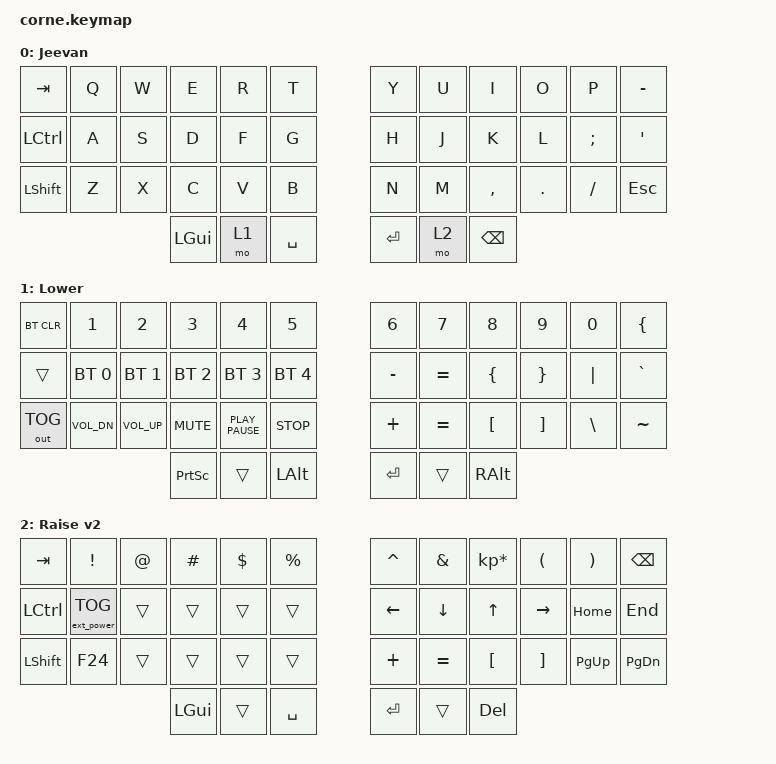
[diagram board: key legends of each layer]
/*
 * Copyright (c) 2020 The ZMK Contributors
 *
 * SPDX-License-Identifier: MIT
 */

#include <behaviors.dtsi>
#include <dt-bindings/zmk/bt.h>
#include <dt-bindings/zmk/ext_power.h>
#include <dt-bindings/zmk/keys.h>
#include <dt-bindings/zmk/outputs.h>

/*
&mt {
    tapping-term-ms = <280>;
    flavor = "balanced";
    quick-tap-ms = <175>;
    require-prior-idle-ms = <150>;
};

&lt {
    tapping-term-ms = <200>;
    flavor = "hold-preferred";
};
*/

#define DEFAULT 0-base
#define LOWER   1-numbers
#define RAISE   2-symbols

/ {
    macros {
        cd_home: cd_home {
            compatible = "zmk,behavior-macro";
            #binding-cells = <0>;
            bindings = <&kp C &kp D &kp SPACE &kp TILDE>;
        };
    };

    keymap {
        compatible = "zmk,keymap";

        default_layer {
            // -----------------------------------------------------------------------------------------
            // |  TAB |  Q  |  W  |  E  |  R  |  T  |   |  Y  |  U   |  I  |  O  |  P  | BKSP |
            // | CTRL |  A  |  S  |  D  |  F  |  G  |   |  H  |  J   |  K  |  L  |  ;  |  '   |
            // | SHFT |  Z  |  X  |  C  |  V  |  B  |   |  N  |  M   |  ,  |  .  |  /  | ESC  |
            //                    | GUI | LWR | SPC |   | ENT | RSE  | ALT |

            display-name = "Jeevan";
            bindings = <
&kp TAB    &kp Q  &kp W  &kp E     &kp R  &kp T        &kp Y    &kp U  &kp I          &kp O    &kp P     &kp MINUS
&kp LCTRL  &kp A  &kp S  &kp D     &kp F  &kp G        &kp H    &kp J  &kp K          &kp L    &kp SEMI  &kp SQT
&kp LSHFT  &kp Z  &kp X  &kp C     &kp V  &kp B        &kp N    &kp M  &kp COMMA      &kp DOT  &kp FSLH  &kp ESC
                         &kp LGUI  &mo 1  &kp SPACE    &kp RET  &mo 2  &kp BACKSPACE
            >;
        };

        lower_layer {
            // -----------------------------------------------------------------------------------------
            // |  TAB |  1  |  2  |  3  |  4  |  5  |   |  6  |  7  |  8  |  9  |  0  | BKSP |
            // | BTCLR| BT1 | BT2 | BT3 | BT4 | BT5 |   | LFT | DWN |  UP | RGT |     |      |
            // | SHFT |     |     |     |     |     |   |     |     |     |     |     |      |
            //   BTUSB            | GUI |     | SPC |   | ENT |     | ALT |

            display-name = "Lower";
            bindings = <
&bt BT_CLR    &kp N1        &kp N2        &kp N3           &kp N4            &kp N5          &kp N6     &kp N7     &kp N8            &kp N9             &kp N0         &kp LEFT_BRACE
&trans        &bt BT_SEL 0  &bt BT_SEL 1  &bt BT_SEL 2     &bt BT_SEL 3      &bt BT_SEL 4    &kp MINUS  &kp EQUAL  &kp LEFT_BRACE    &kp RIGHT_BRACE    &kp PIPE       &kp GRAVE
&out OUT_TOG  &kp C_VOL_DN  &kp C_VOL_UP  &kp K_MUTE       &kp K_PLAY_PAUSE  &kp K_STOP      &kp PLUS   &kp EQUAL  &kp LEFT_BRACKET  &kp RIGHT_BRACKET  &kp BACKSLASH  &kp TILDE
                                          &kp PRINTSCREEN  &trans            &kp LEFT_ALT    &kp RET    &trans     &kp RALT
            >;
        };

        raise_layer {
            // -----------------------------------------------------------------------------------------
            // |  TAB |  !  |  @  |  #  |  $  |  %  |   |  ^  |  &  |  *  |  (  |  )  | BKSP |
            // | CTRL |     |     |     |     |     |   |  -  |  =  |  [  |  ]  |  \  |  `   |
            // | SHFT | F24 |     |     |     |     |   |  _  |  +  |  {  |  }  | "|" |  ~   |
            //                    | GUI |     | SPC |   | ENT |     | ALT |

            display-name = "Raise v2";
            bindings = <
&kp TAB    &kp EXCL           &kp AT  &kp HASH  &kp DLLR  &kp PRCNT    &kp CARET  &kp AMPS   &kp KP_MULTIPLY   &kp LPAR           &kp RPAR     &kp BSPC
&kp LCTRL  &ext_power EP_TOG  &trans  &trans    &trans    &trans       &kp LEFT   &kp DOWN   &kp UP            &kp RIGHT          &kp HOME     &kp END
&kp LSHFT  &kp F24            &trans  &trans    &trans    &trans       &kp PLUS   &kp EQUAL  &kp LEFT_BRACKET  &kp RIGHT_BRACKET  &kp PAGE_UP  &kp PAGE_DOWN
                                      &kp LGUI  &trans    &kp SPACE    &kp RET    &trans     &kp DEL
            >;
        };

        extra_1 { status = "reserved"; };

        extra_2 { status = "reserved"; };

        extra_3 { status = "reserved"; };
    };
};
